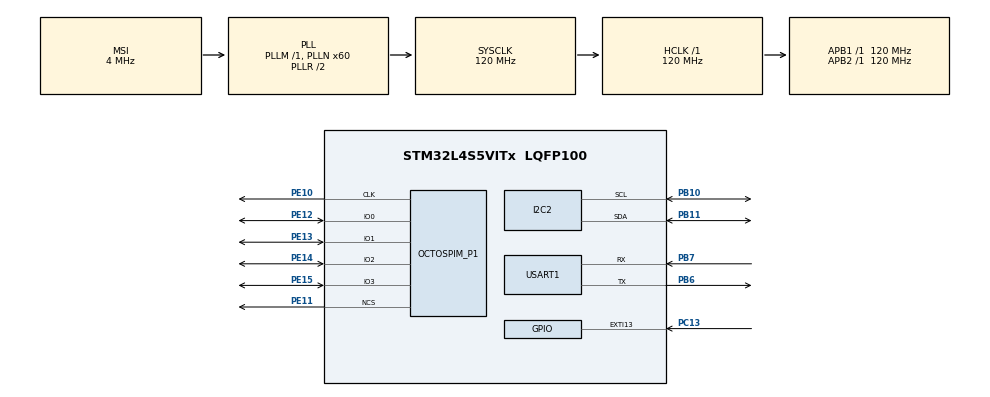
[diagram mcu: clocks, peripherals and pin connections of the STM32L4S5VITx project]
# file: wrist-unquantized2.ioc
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I2C2.Timing=0x307075B1
Mcu.Family=STM32L4
Mcu.Name=STM32L4S5VITx
Mcu.Package=LQFP100
NVIC.EXTI15_10_IRQn=true\:0\:0\:false\:false\:true\:true\:true\:true
NVIC.PriorityGroup=NVIC_PRIORITYGROUP_4
NVIC.TIM1_TRG_COM_TIM17_IRQn=true\:0\:0\:false\:false\:true\:true\:true\:true
NVIC.TIM6_DAC_IRQn=true\:15\:0\:false\:false\:true\:false\:true\:true
NVIC.TimeBase=TIM6_DAC_IRQn
NVIC.TimeBaseIP=TIM6
OCTOSPI1.MemoryType=HAL_OSPI_MEMTYPE_MACRONIX
PB10.Mode=I2C
PB10.Signal=I2C2_SCL
PB11.Mode=I2C
PB11.Signal=I2C2_SDA
PB6.Mode=Asynchronous
PB6.Signal=USART1_TX
PB7.Mode=Asynchronous
PB7.Signal=USART1_RX
PC13.Signal=GPXTI13
PE10.Mode=O1_P1_CLK
PE10.Signal=OCTOSPIM_P1_CLK
PE11.Mode=OCTOSPI1_Port1_NCS
PE11.Signal=OCTOSPIM_P1_NCS
PE12.Mode=OCTOSPI1_IOL_Port1L
PE12.Signal=OCTOSPIM_P1_IO0
PE13.Mode=OCTOSPI1_IOL_Port1L
PE13.Signal=OCTOSPIM_P1_IO1
PE14.Mode=OCTOSPI1_IOL_Port1L
PE14.Signal=OCTOSPIM_P1_IO2
PE15.Mode=OCTOSPI1_IOL_Port1L
PE15.Signal=OCTOSPIM_P1_IO3
ProjectManager.HeapSize=0x800
ProjectManager.StackSize=0x800
ProjectManager.TargetToolchain=STM32CubeIDE
RCC.ADCFreq_Value=48000000
RCC.AHBFreq_Value=120000000
RCC.APB1Freq_Value=120000000
RCC.APB1TimFreq_Value=120000000
RCC.APB2Freq_Value=120000000
RCC.APB2TimFreq_Value=120000000
RCC.CortexFreq_Value=120000000
RCC.HCLKFreq_Value=120000000
RCC.HSE_VALUE=8000000
RCC.HSI48_VALUE=48000000
RCC.HSI_VALUE=16000000
RCC.LSE_VALUE=32768
RCC.MSI_VALUE=4000000
RCC.PLLN=60
RCC.PLLSAI1N=24
RCC.SYSCLKFreq_VALUE=120000000
RCC.SYSCLKSource=RCC_SYSCLKSOURCE_PLLCLK
RCC.USART1CLockSelection=RCC_USART1CLKSOURCE_SYSCLK
RCC.USBFreq_Value=48000000
RCC.VCOOutputFreq_Value=240000000
STMicroelectronics.X-CUBE-AI.8.0.0.ActivationBufferSizeList=5852
STMicroelectronics.X-CUBE-AI.8.0.0.ActivationBuffers=NULL
STMicroelectronics.X-CUBE-AI.8.0.0.HeapSize=0x800
STMicroelectronics.X-CUBE-AI.8.0.0.InternalRamActivationBufferMaxSize=AI_NETWORK_DATA_ACTIVATIONS_SIZE
STMicroelectronics.X-CUBE-AI.8.0.0.LatestDirectoryUsed-53cf1d83d629730784cea672f8333ab77c9d263779d1621ea6577dca71036d4c=C\:\\Users\\Eren\\Downloads
STMicroelectronics.X-CUBE-AI.8.0.0.MaximumNumberOfInputLayer=1
STMicroelectronics.X-CUBE-AI.8.0.0.MaximumNumberOfOutputLayer=1
STMicroelectronics.X-CUBE-AI.8.0.0.MaximumSizeOfInputLayer=1
STMicroelectronics.X-CUBE-AI.8.0.0.MaximumSizeOfOutputLayer=1
STMicroelectronics.X-CUBE-AI.8.0.0.ModelActualCompression-53cf1d83d629730784cea672f8333ab77c9d263779d1621ea6577dca71036d4c=0.0
STMicroelectronics.X-CUBE-AI.8.0.0.ModelCompression-53cf1d83d629730784cea672f8333ab77c9d263779d1621ea6577dca71036d4c=None
STMicroelectronics.X-CUBE-AI.8.0.0.ModelFlashOccupation-53cf1d83d629730784cea672f8333ab77c9d263779d1621ea6577dca71036d4c=1289542
STMicroelectronics.X-CUBE-AI.8.0.0.ModelHashList=53cf1d83d629730784cea672f8333ab77c9d263779d1621ea6577dca71036d4c
STMicroelectronics.X-CUBE-AI.8.0.0.ModelKind-53cf1d83d629730784cea672f8333ab77c9d263779d1621ea6577dca71036d4c=TFLITE
STMicroelectronics.X-CUBE-AI.8.0.0.ModelMacc-53cf1d83d629730784cea672f8333ab77c9d263779d1621ea6577dca71036d4c=316964
STMicroelectronics.X-CUBE-AI.8.0.0.ModelName-53cf1d83d629730784cea672f8333ab77c9d263779d1621ea6577dca71036d4c=network
STMicroelectronics.X-CUBE-AI.8.0.0.ModelNameList=network
STMicroelectronics.X-CUBE-AI.8.0.0.ModelRamOccupation-53cf1d83d629730784cea672f8333ab77c9d263779d1621ea6577dca71036d4c=5852
STMicroelectronics.X-CUBE-AI.8.0.0.ModelStructureFile-53cf1d83d629730784cea672f8333ab77c9d263779d1621ea6577dca71036d4c=C\:\\Users\\Eren\\Downloads\\mod.tflite
STMicroelectronics.X-CUBE-AI.8.0.0.ModelType-53cf1d83d629730784cea672f8333ab77c9d263779d1621ea6577dca71036d4c=STM32Cube.AI runtime
STMicroelectronics.X-CUBE-AI.8.0.0.ReadyForCodeGeneration=true
STMicroelectronics.X-CUBE-AI.8.0.0.StackSize=0x800
STMicroelectronics.X-CUBE-AI.8.0.0.WorkingBufferStartAddrList=0xFFFFFFFF
STMicroelectronics.X-CUBE-AI.8.0.0.XAaCUBEAaAICcArtificialOoIntelligenceJjCore=true
STMicroelectronics.X-CUBE-AI.8.0.0.copyWeightToRam=false
STMicroelectronics.X-CUBE-AI.8.0.0.copyWeightToRam-53cf1d83d629730784cea672f8333ab77c9d263779d1621ea6577dca71036d4c=false
STMicroelectronics.X-CUBE-AI.8.0.0.customLayerConfigEnabled=false
STMicroelectronics.X-CUBE-AI.8.0.0.customLayerConfigEnabled-53cf1d83d629730784cea672f8333ab77c9d263779d1621ea6577dca71036d4c=false
STMicroelectronics.X-CUBE-AI.8.0.0.useInputAllocation=true
STMicroelectronics.X-CUBE-AI.8.0.0.useInputAllocation-53cf1d83d629730784cea672f8333ab77c9d263779d1621ea6577dca71036d4c=true
STMicroelectronics.X-CUBE-AI.8.0.0.useOutputAllocation=true
STMicroelectronics.X-CUBE-AI.8.0.0.useOutputAllocation-53cf1d83d629730784cea672f8333ab77c9d263779d1621ea6577dca71036d4c=true
TIM17.Period=3124
TIM17.Prescaler=120
USART1.VirtualMode-Asynchronous=VM_ASYNC
VP_CRC_VS_CRC.Mode=CRC_Activate
VP_OCTOSPI1_VS_quad.Mode=quad_mode
VP_STMicroelectronics.X-CUBE-AI_VS_ArtificialOoIntelligenceJjXAaCUBEAaAI_8.0.0.Mode=ArtificialOoIntelligenceJjXAaCUBEAaAI
VP_SYS_VS_tim6.Mode=TIM6
VP_TIM17_VS_ClockSourceINT.Mode=Enable_Timer
board=B-L4S5I-IOT01A

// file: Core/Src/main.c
/* USER CODE BEGIN Header */
/**
  ******************************************************************************
  * @file           : main.c
  * @brief          : Main program body
  ******************************************************************************
  * @attention
  *
  * Copyright (c) 2023 STMicroelectronics.
  * All rights reserved.
  *
  * This software is licensed under terms that can be found in the LICENSE file
  * in the root directory of this software component.
  * If no LICENSE file comes with this software, it is provided AS-IS.
  *
  ******************************************************************************
  */
/* USER CODE END Header */
#include "main.h"

/* USER CODE BEGIN Includes */
#define ARM_MATH_CM4
#define WINDOW_SIZE 1
#include <stdio.h>
#include "arm_math.h"
#include "ai_datatypes_defines.h"
#include "network_data_params.h"
#include "network_data.h"
#include "network.h"
#include "stm32l4s5i_iot01_accelero.h"
#include "stm32l4s5i_iot01_qspi.h"
#define FLASH_WRITE

/* USER CODE END Includes */

CRC_HandleTypeDef hcrc;

I2C_HandleTypeDef hi2c2;

OSPI_HandleTypeDef hospi1;

TIM_HandleTypeDef htim17;

UART_HandleTypeDef huart1;

/* USER CODE BEGIN PV */

// Pointer to the network (very unfortunate macro name!)
static ai_handle network = AI_HANDLE_NULL;

// Scratchpad buffer
AI_ALIGNED(32) static ai_u8 activations[AI_NETWORK_DATA_ACTIVATIONS_SIZE];

// Point network metadata structs towards our buffers
static ai_buffer *ai_input;
static ai_buffer *ai_output;

// Conversion from network prediction to human-readable output
enum Mode {INFER, SAMPLE};
volatile enum Mode mode = INFER;
static char output_labels[14][30] = {"Using telephone", "Standing up from chair", "Lying down on bed", "Sitting on chair", "Pouring water",
									 "Walking", "Drinking from a glass", "Descending stairs", "Climbing stairs", "Eating with fork and knife",
								     "Getting up from bed", "Drinking soup", "Combing hair", "Brushing teeth"};

int8_t accel[3];
float x_in, x_out, x_state[WINDOW_SIZE];
float y_in, y_out, y_state[WINDOW_SIZE];
float z_in, z_out, z_state[WINDOW_SIZE];
volatile int array_idx = 0;
volatile uint8_t array_ready = 0;
volatile uint8_t xRounded, yRounded, zRounded;

uint8_t current_Data[288];
uint8_t copied_Data[288];
int i = 0;
float multiplier = 1/47.619048;
uint8_t x_Current;
uint8_t y_Current;
uint8_t z_Current;

// Have a simple moving average for FIR coefficients now,
// maybe elaborate later if needed
float w = 1 / (float)WINDOW_SIZE;
float coeff[WINDOW_SIZE] = {1};

arm_fir_instance_f32 x_instance, y_instance, z_instance;

uint32_t current_movement = -1;
uint32_t previous_movement = -1;
float ratio = (63.0f/3000.0f);

uint32_t movement_started=0;
uint32_t current_movement_duration=0;
uint8_t movement_changed=0;

float xCurrent, yCurrent, zCurrent;
float xRaw, yRaw, zRaw;

// The first byte on QSPI flash is reserved to store
// the value of this pointer
uint32_t qspi_flash_ptr = 0x01;
uint8_t sector_buffer[4096] = "0";
uint16_t sector_buffer_idx = 0;
uint32_t current_sector_addr = 0;
uint32_t current_sector_idx = 0;

uint8_t current_block = 1;
uint8_t num_samples;

/* USER CODE END PV */

void SystemClock_Config(void);
static void MX_GPIO_Init(void);
static void MX_CRC_Init(void);
static void MX_USART1_UART_Init(void);
static void MX_TIM17_Init(void);
static void MX_I2C2_Init(void);
static void MX_OCTOSPI1_Init(void);
/* USER CODE BEGIN PFP */

/* QSPI Flash functions ------------------------------------------------------*/

/*
 * @brief This function writes an array to flash memory and reads it back to verify. The data is
 * preceded by its user-given label.
 * @param write_array: Array of accelerometer data to write to memory
 * @param write_array_size: Size of array to write to memory
 * @param label: User-defined classification label of write_array
 * @retval None
 */
void flashWrite(uint8_t* write_array, int write_array_size, uint8_t label)
{
	// For this demo, only use the start addresses of blocks. In an actual application,
	// this wasteful method would be replaced by a struct that buffers multiple sample
	// arrays and autosaves them at certain intervals.
	uint32_t current_addr = (num_samples+1) * 64 * 1024;

	// Erase the current block first
	if(BSP_QSPI_Erase_Block(current_addr) != QSPI_OK) {
			Error_Handler();
	}

	// Write the label byte to the current address
	if(BSP_QSPI_Write(&label, current_addr, 1) != QSPI_OK) {
			Error_Handler();
	}

	// Read back the label byte for verification
	uint8_t label_read;
	if(BSP_QSPI_Read(&label_read, current_addr, 1)!= QSPI_OK) {
			Error_Handler();
	}

	// Increment the current write address by 1 to account for the label byte.
	current_addr += 1;

	// Write the data array to current write address
	if(BSP_QSPI_Write(write_array, current_addr, 288) != QSPI_OK) {
			Error_Handler();
	}

	// Read the data array from the current address and check for errors.
	uint8_t arr_cp[288];
	if(BSP_QSPI_Read(arr_cp, current_addr, 288)!= QSPI_OK) {
			Error_Handler();
	}

	// Increment the current block number.
	++current_block;

	// Erase the first block and check for errors.
	if(BSP_QSPI_Erase_Block(0x00) != QSPI_OK) {
			Error_Handler();
	}

	// Increment the number of samples.
	++num_samples;

	// Write the updated number of samples to the beginning of the flash memory and check for errors.
	if(BSP_QSPI_Write(&num_samples, 0x00, sizeof(num_samples)) != QSPI_OK) {
			Error_Handler();
	}
}

/*
 * @brief This function reads the contents of flash memory and outputs them over UART.
 * @param None
 * @retval None
 */
void flashRead()
{
	// Loop through each saved sample
	for (int i=1; i<=num_samples; ++i)
	{
		// Calculate the address of the current sample
		uint32_t addr = i * 64 * 1024;

		// Read the label of the current sample
		uint8_t current_label;
		if(BSP_QSPI_Read(&current_label, addr, sizeof(current_label))!= QSPI_OK) Error_Handler();

		// Increment the address to read the sample array
		addr += sizeof(current_label);

		// Read the sample array
		uint8_t arr[288];
		if(BSP_QSPI_Read(arr, addr, sizeof(arr))!= QSPI_OK) Error_Handler();

		// Print the label of the current sample
		char task_dsc[40] = "";
		sprintf(task_dsc, "\r\n%s\r\n", output_labels[current_label-1]);
		HAL_UART_Transmit(&huart1, task_dsc, sizeof(task_dsc), HAL_MAX_DELAY);

		// Print each line of the sample array
		for (int j=0; j<288/3; ++j)
		{
			char current_line[20] = "";
			sprintf(current_line, "\r\n%d, %d, %d", arr[j*3], arr[j*3+1],arr[j*3+2]);
			HAL_UART_Transmit(&huart1, current_line, sizeof(current_line), HAL_MAX_DELAY);
		}

		// Print a newline character to separate samples
		char newline[2] = "\r\n";
		HAL_UART_Transmit(&huart1, newline, sizeof(newline), HAL_MAX_DELAY);
	}
}

/* X-CUBE-AI functions ------------------------------------------------------*/

/**
 * Initializes the AI by creating and initializing the model, and receiving pointers
 * to the model's input/output tensors.
 *
 * @return 0 if initialization is successful, 1 if an error occurs.
 */
int aiInit(void)
{
  ai_error err;

  // Create and initialize the model
  const ai_handle acts[] = { activations };
  err = ai_network_create_and_init(&network, acts, NULL);
  if (err.type != AI_ERROR_NONE) {return 1;}

  // Receive pointers to the model's input/output tensors
  ai_input = ai_network_inputs_get(network, NULL);
  ai_output = ai_network_outputs_get(network, NULL);

  return 0;
}

/**
 * Runs the AI by updating IO handlers with the data payload and performing the inference.
 *
 * @param in_data Pointer to the input data.
 * @param out_data Pointer to the output data.
 * @return 0 if the inference is successful, -1 if an error occurs.
 */
int aiRun(const void *in_data, void *out_data)
{
  ai_i32 n_batch;

  /* 1 - Update IO handlers with the data payload */
  ai_input[0].data = AI_HANDLE_PTR(in_data);
  ai_output[0].data = AI_HANDLE_PTR(out_data);

  /* 2 - Perform the inference */
  n_batch = ai_network_run(network, &ai_input[0], &ai_output[0]);
  if (n_batch != 1) {return -1;}

  return 0;
}

/* UART UI functions ------------------------------------------------------*/

/**
 * Formats the output based on the result of the classification, time taken, and whether
 * the movement has changed or not.
 *
 * @param classification_result The result of the classification.
 * @param time_ms The time taken in milliseconds.
 * @param movement_changed Flag indicating whether the movement has changed or not.
 * @return 0 if the output is successfully formatted.
 */
int formatOutputFromResult(uint32_t classification_result, uint32_t time_ms, uint8_t movement_changed)
{
	char output_string[70] = "";
	char interbuf[70] = "";

	if(movement_changed)
	{
		// Output the classification result
		sprintf(output_string, "%s", output_labels[classification_result]);
	}
	else
	{
		// Output the classification result and the time taken
		sprintf(output_string, "%s for %d seconds", output_labels[classification_result], time_ms/1000);

		// Clear the line before outputting the result
		char clear_line[] = "\x1B[2K\r"; // escape code to clear line
		HAL_UART_Transmit(&huart1, (uint8_t *)clear_line, strlen(clear_line), HAL_MAX_DELAY);

		// Copy the classification result to a buffer
		strcpy(interbuf, output_labels[classification_result]);
	}

	// Transmit the output string via UART
	HAL_UART_Transmit(&huart1, output_string, sizeof(output_string), HAL_MAX_DELAY);

	return 0;
}

/**
 * Prompts the user to input a task number, displays a list of available tasks,
 * and waits for the user's input via UART.
 *
 * @return The task number entered by the user.
 */
uint8_t getUserInput(void)
{
	// Initialize variables
	char prompt[40] = "", first_task[40] = "", end_prompt[40]="";
	char response[2] = "";
	int i;

	// Output prompt and first task option
	sprintf(prompt, "\r\nEnter the task number as follows:\r\n");
	HAL_UART_Transmit(&huart1, prompt, sizeof(prompt), HAL_MAX_DELAY);
	sprintf(first_task, "%02d - %s\r\n", 0, "TO TRANSMIT THROUGH UART");
	HAL_UART_Transmit(&huart1, first_task, sizeof(first_task), HAL_MAX_DELAY);

	// Output the rest of the task options
	for (i = 0; i < 14; ++i)
	{
		char task[40] = "";
		sprintf(task, "%02d - %s\r\n", i + 1, output_labels[i]);
		HAL_UART_Transmit(&huart1, task, sizeof(task), HAL_MAX_DELAY);
	}

	//Output final option
	sprintf(end_prompt, "%02d - %s\r\n", 15, "TO ERASE FLASH");
	HAL_UART_Transmit(&huart1, end_prompt, sizeof(end_prompt), HAL_MAX_DELAY);

	// Wait for the user's input via UART
	HAL_UART_Receive(&huart1, response, sizeof(response), HAL_MAX_DELAY);

	// Transmit the user's input via UART
	HAL_UART_Transmit(&huart1, response, sizeof(response), HAL_MAX_DELAY);

	// Convert the user's input to an integer and return it
	return atoi(response);
}

/*
 * @brief This function sets the number of samples to zero, so we can overwrite old samples
 * @param None
 * @retval None
 */
void resetFlash()
{
	char info[20], ack[20];

	// Inform erase procedure
	sprintf(info, "\r\nERASING");
	HAL_UART_Transmit(&huart1, info, sizeof(info), HAL_MAX_DELAY);

	// Reset number of samples to zero
	num_samples = 0;

	// Write 0 to address of sample count
	if(BSP_QSPI_Write(&num_samples, 0x00, sizeof(num_samples)) != QSPI_OK) {
			Error_Handler();
	}

	// Acknowledge erase
	sprintf(ack, "\r\nERASED\r\n");
	HAL_UART_Transmit(&huart1, ack, sizeof(ack), HAL_MAX_DELAY);
}

/* USER CODE END PFP */

int main(void)
{

  /* MCU Configuration--------------------------------------------------------*/

  /* Reset of all peripherals, Initializes the Flash interface and the Systick. */
  HAL_Init();

  /* USER CODE BEGIN Init */
  arm_fir_init_f32(&x_instance, WINDOW_SIZE, coeff, x_state, 1);
  arm_fir_init_f32(&y_instance, WINDOW_SIZE, coeff, y_state, 1);
  arm_fir_init_f32(&z_instance, WINDOW_SIZE, coeff, z_state, 1);

  /* USER CODE END Init */

  /* Configure the system clock */
  SystemClock_Config();

  /* Initialize all configured peripherals */
  MX_GPIO_Init();
  MX_CRC_Init();
  MX_USART1_UART_Init();
  MX_TIM17_Init();
  MX_I2C2_Init();
  MX_OCTOSPI1_Init();
  /* USER CODE BEGIN 2 */

  // Initialize different drivers
  aiInit();
  BSP_ACCELERO_Init();
  BSP_QSPI_Init();

  // On startup, read from the first block to know where the processor left off
  if(BSP_QSPI_Read(&num_samples, 0x00, sizeof(num_samples))!= QSPI_OK) Error_Handler();

  // Start accelerometer sampling timer
  HAL_TIM_Base_Start_IT(&htim17);

  /* Infinite loop */
  while (1)
  {

    /* USER CODE BEGIN 3 */

	// If the timer interrupt signals that the array is full, stop the sampling timer. Copy the
	// current samples into a buffer, give permission to the interrupt to restart sampling, and
	// start the sampling timer.
    if (array_ready)
    {
    	HAL_TIM_Base_Stop_IT(&htim17);
    	memcpy(copied_Data, current_Data, 288);
    	array_idx = 0;
    	array_ready = 0;
    	HAL_TIM_Base_Start_IT(&htim17);
    }

    if (mode == SAMPLE)
    {
    	// Prompt the user to enter what kind of motion they were doing. If they enter 0, then
    	// print the contents of flash memory to get extra training data
    	uint8_t userVal = getUserInput();
    	if (userVal == 0)
    	{
    		flashRead();
    	}
    	else if (userVal == 15)
    	{
    		resetFlash();
    	}
    	else
    	{
    		// If a nonzero value is entered in the prompt, save the current buffer along with
    		// the given label.
    	char ack[70] = "";
    	sprintf(ack, "\r\nSaving last 3 seconds with label: %02d\r\n", userVal);
			HAL_UART_Transmit(&huart1, ack, sizeof(ack), HAL_MAX_DELAY);
			flashWrite(copied_Data, 288, userVal);
			char fin[40] = "";
			sprintf(fin, "\r\nDone!\n");
			HAL_UART_Transmit(&huart1, fin, sizeof(fin), HAL_MAX_DELAY);
			mode = INFER;
      }
    }
    else
    {
    	// Do inference
    	float out_data[14];
    	aiRun(copied_Data, out_data);

    	// Get the index of the maximum of the final activation layer
    	arm_max_f32(out_data, 14, NULL, &current_movement);

    	// Keep track of how long the user has made the last motion. If the motion has changed,
    	// reset it.
    	uint8_t movement_changed = 0;
    	if (current_movement == previous_movement)
    	{
    		current_movement_duration = (HAL_GetTick() - movement_started);
    		movement_changed = 0;
    	}
    	else
    	{
    		previous_movement = current_movement;
    		movement_started = HAL_GetTick();
    		movement_changed = 1;
    	}

    	// Pass the classification result and movement timer to the UART UI function
    	formatOutputFromResult(current_movement, current_movement_duration, movement_changed);
    }
  }
  /* USER CODE END 3 */
}

void SystemClock_Config(void)
{
  RCC_OscInitTypeDef RCC_OscInitStruct = {0};
  RCC_ClkInitTypeDef RCC_ClkInitStruct = {0};

  /** Configure the main internal regulator output voltage
  */
  if (HAL_PWREx_ControlVoltageScaling(PWR_REGULATOR_VOLTAGE_SCALE1_BOOST) != HAL_OK)
  {
    Error_Handler();
  }

  /** Initializes the RCC Oscillators according to the specified parameters
  * in the RCC_OscInitTypeDef structure.
  */
  RCC_OscInitStruct.OscillatorType = RCC_OSCILLATORTYPE_MSI;
  RCC_OscInitStruct.MSIState = RCC_MSI_ON;
  RCC_OscInitStruct.MSICalibrationValue = 0;
  RCC_OscInitStruct.MSIClockRange = RCC_MSIRANGE_6;
  RCC_OscInitStruct.PLL.PLLState = RCC_PLL_ON;
  RCC_OscInitStruct.PLL.PLLSource = RCC_PLLSOURCE_MSI;
  RCC_OscInitStruct.PLL.PLLM = 1;
  RCC_OscInitStruct.PLL.PLLN = 60;
  RCC_OscInitStruct.PLL.PLLP = RCC_PLLP_DIV2;
  RCC_OscInitStruct.PLL.PLLQ = RCC_PLLQ_DIV2;
  RCC_OscInitStruct.PLL.PLLR = RCC_PLLR_DIV2;
  if (HAL_RCC_OscConfig(&RCC_OscInitStruct) != HAL_OK)
  {
    Error_Handler();
  }

  /** Initializes the CPU, AHB and APB buses clocks
  */
  RCC_ClkInitStruct.ClockType = RCC_CLOCKTYPE_HCLK|RCC_CLOCKTYPE_SYSCLK
                              |RCC_CLOCKTYPE_PCLK1|RCC_CLOCKTYPE_PCLK2;
  RCC_ClkInitStruct.SYSCLKSource = RCC_SYSCLKSOURCE_PLLCLK;
  RCC_ClkInitStruct.AHBCLKDivider = RCC_SYSCLK_DIV1;
  RCC_ClkInitStruct.APB1CLKDivider = RCC_HCLK_DIV1;
  RCC_ClkInitStruct.APB2CLKDivider = RCC_HCLK_DIV1;

  if (HAL_RCC_ClockConfig(&RCC_ClkInitStruct, FLASH_LATENCY_5) != HAL_OK)
  {
    Error_Handler();
  }
}

static void MX_CRC_Init(void)
{

  hcrc.Instance = CRC;
  hcrc.Init.DefaultPolynomialUse = DEFAULT_POLYNOMIAL_ENABLE;
  hcrc.Init.DefaultInitValueUse = DEFAULT_INIT_VALUE_ENABLE;
  hcrc.Init.InputDataInversionMode = CRC_INPUTDATA_INVERSION_NONE;
  hcrc.Init.OutputDataInversionMode = CRC_OUTPUTDATA_INVERSION_DISABLE;
  hcrc.InputDataFormat = CRC_INPUTDATA_FORMAT_BYTES;
  if (HAL_CRC_Init(&hcrc) != HAL_OK)
  {
    Error_Handler();
  }

}

static void MX_I2C2_Init(void)
{

  hi2c2.Instance = I2C2;
  hi2c2.Init.Timing = 0x307075B1;
  hi2c2.Init.OwnAddress1 = 0;
  hi2c2.Init.AddressingMode = I2C_ADDRESSINGMODE_7BIT;
  hi2c2.Init.DualAddressMode = I2C_DUALADDRESS_DISABLE;
  hi2c2.Init.OwnAddress2 = 0;
  hi2c2.Init.OwnAddress2Masks = I2C_OA2_NOMASK;
  hi2c2.Init.GeneralCallMode = I2C_GENERALCALL_DISABLE;
  hi2c2.Init.NoStretchMode = I2C_NOSTRETCH_DISABLE;
  if (HAL_I2C_Init(&hi2c2) != HAL_OK)
  {
    Error_Handler();
  }

  /** Configure Analogue filter
  */
  if (HAL_I2CEx_ConfigAnalogFilter(&hi2c2, I2C_ANALOGFILTER_ENABLE) != HAL_OK)
  {
    Error_Handler();
  }

  /** Configure Digital filter
  */
  if (HAL_I2CEx_ConfigDigitalFilter(&hi2c2, 0) != HAL_OK)
  {
    Error_Handler();
  }

}

static void MX_OCTOSPI1_Init(void)
{

  OSPIM_CfgTypeDef OSPIM_Cfg_Struct = {0};

  /* OCTOSPI1 parameter configuration*/
  hospi1.Instance = OCTOSPI1;
  hospi1.Init.FifoThreshold = 1;
  hospi1.Init.DualQuad = HAL_OSPI_DUALQUAD_DISABLE;
  hospi1.Init.MemoryType = HAL_OSPI_MEMTYPE_MACRONIX;
  hospi1.Init.DeviceSize = 32;
  hospi1.Init.ChipSelectHighTime = 1;
  hospi1.Init.FreeRunningClock = HAL_OSPI_FREERUNCLK_DISABLE;
  hospi1.Init.ClockMode = HAL_OSPI_CLOCK_MODE_0;
  hospi1.Init.ClockPrescaler = 1;
  hospi1.Init.SampleShifting = HAL_OSPI_SAMPLE_SHIFTING_NONE;
  hospi1.Init.DelayHoldQuarterCycle = HAL_OSPI_DHQC_DISABLE;
  hospi1.Init.ChipSelectBoundary = 0;
  hospi1.Init.DelayBlockBypass = HAL_OSPI_DELAY_BLOCK_BYPASSED;
  if (HAL_OSPI_Init(&hospi1) != HAL_OK)
  {
    Error_Handler();
  }
  OSPIM_Cfg_Struct.ClkPort = 1;
  OSPIM_Cfg_Struct.NCSPort = 1;
  OSPIM_Cfg_Struct.IOLowPort = HAL_OSPIM_IOPORT_1_LOW;
  if (HAL_OSPIM_Config(&hospi1, &OSPIM_Cfg_Struct, HAL_OSPI_TIMEOUT_DEFAULT_VALUE) != HAL_OK)
  {
    Error_Handler();
  }

}

static void MX_TIM17_Init(void)
{

  htim17.Instance = TIM17;
  htim17.Init.Prescaler = 120;
  htim17.Init.CounterMode = TIM_COUNTERMODE_UP;
  htim17.Init.Period = 3124;
  htim17.Init.ClockDivision = TIM_CLOCKDIVISION_DIV1;
  htim17.Init.RepetitionCounter = 0;
  htim17.Init.AutoReloadPreload = TIM_AUTORELOAD_PRELOAD_DISABLE;
  if (HAL_TIM_Base_Init(&htim17) != HAL_OK)
  {
    Error_Handler();
  }

}

static void MX_USART1_UART_Init(void)
{

  huart1.Instance = USART1;
  huart1.Init.BaudRate = 115200;
  huart1.Init.WordLength = UART_WORDLENGTH_8B;
  huart1.Init.StopBits = UART_STOPBITS_1;
  huart1.Init.Parity = UART_PARITY_NONE;
  huart1.Init.Mode = UART_MODE_TX_RX;
  huart1.Init.HwFlowCtl = UART_HWCONTROL_NONE;
  huart1.Init.OverSampling = UART_OVERSAMPLING_16;
  huart1.Init.OneBitSampling = UART_ONE_BIT_SAMPLE_DISABLE;
  huart1.Init.ClockPrescaler = UART_PRESCALER_DIV1;
  huart1.AdvancedInit.AdvFeatureInit = UART_ADVFEATURE_NO_INIT;
  if (HAL_UART_Init(&huart1) != HAL_OK)
  {
    Error_Handler();
  }
  if (HAL_UARTEx_SetTxFifoThreshold(&huart1, UART_TXFIFO_THRESHOLD_1_8) != HAL_OK)
  {
    Error_Handler();
  }
  if (HAL_UARTEx_SetRxFifoThreshold(&huart1, UART_RXFIFO_THRESHOLD_1_8) != HAL_OK)
  {
    Error_Handler();
  }
  if (HAL_UARTEx_DisableFifoMode(&huart1) != HAL_OK)
  {
    Error_Handler();
  }

}

static void MX_GPIO_Init(void)
{
  GPIO_InitTypeDef GPIO_InitStruct = {0};

  /* GPIO Ports Clock Enable */
  __HAL_RCC_GPIOC_CLK_ENABLE();
  __HAL_RCC_GPIOE_CLK_ENABLE();
  __HAL_RCC_GPIOB_CLK_ENABLE();

  /*Configure GPIO pin : PC13 */
  GPIO_InitStruct.Pin = GPIO_PIN_13;
  GPIO_InitStruct.Mode = GPIO_MODE_IT_RISING;
  GPIO_InitStruct.Pull = GPIO_NOPULL;
  HAL_GPIO_Init(GPIOC, &GPIO_InitStruct);

  /* EXTI interrupt init*/
  HAL_NVIC_SetPriority(EXTI15_10_IRQn, 0, 0);
  HAL_NVIC_EnableIRQ(EXTI15_10_IRQn);

}

/* USER CODE BEGIN 4 */
/*Configure GPIO pin : PBUTTON_Pin */
/* USER CODE END 4 */

void HAL_TIM_PeriodElapsedCallback(TIM_HandleTypeDef *htim)
{
  /* USER CODE BEGIN Callback 0 */
	if (htim->Instance == TIM17) {
		int16_t temp_buffer[3];

		// Get raw accelerometer data and scale it according
		// to the formula given in the ADL dataset
		BSP_ACCELERO_AccGetXYZ(temp_buffer);
		xRaw = ratio * (temp_buffer[0] + 1500.0f);
		yRaw = ratio * (temp_buffer[1] + 1500.0f);
		zRaw = ratio * (temp_buffer[2] + 1500.0f);

		// Apply FIR filter (maybe customize the filter coeffs later?)
		arm_fir_f32(&x_instance, &xRaw, &xCurrent, 1);
		arm_fir_f32(&y_instance, &yRaw, &yCurrent, 1);
		arm_fir_f32(&z_instance, &zRaw, &zCurrent, 1);

		// Clip, round and cast the filtered accelerometer data to fit the
		// network's specified input range
		if(xCurrent > 63) xCurrent = 63;
		if(xCurrent < 0) xCurrent = 0;
		if(yCurrent > 63) yCurrent = 63;
		if(yCurrent < 0) yCurrent = 0;
		if(zCurrent > 63) zCurrent = 63;
		if(zCurrent < 0) zCurrent = 0;
		uint8_t xRounded = round(xCurrent);
		uint8_t yRounded = round(yCurrent);
		uint8_t zRounded = round(zCurrent);

		// If the array is not yet full, write top it and increment the array
		// pointer by 3. If it is full, flag that the array is ready and wait
		// for write permission from the main loop (i.e. wait until array_idx
		// is cleared.
		if(array_idx <= 285)
		{
			array_ready = 0;
			current_Data[array_idx] = xRounded;
			current_Data[array_idx+1] = yRounded;
			current_Data[array_idx+2] = zRounded;
			array_idx += 3;
		}else{
			array_ready = 1;
		}
	  }

  /* USER CODE END Callback 0 */
  if (htim->Instance == TIM6) {
    HAL_IncTick();
  }
}

void HAL_GPIO_EXTI_Callback(uint16_t GPIO_Pin)
{
	if(GPIO_Pin == GPIO_PIN_13)
	{
		mode = !mode;
	}
}

void Error_Handler(void)
{
  __disable_irq();
  while (1)
  {
  }
}
